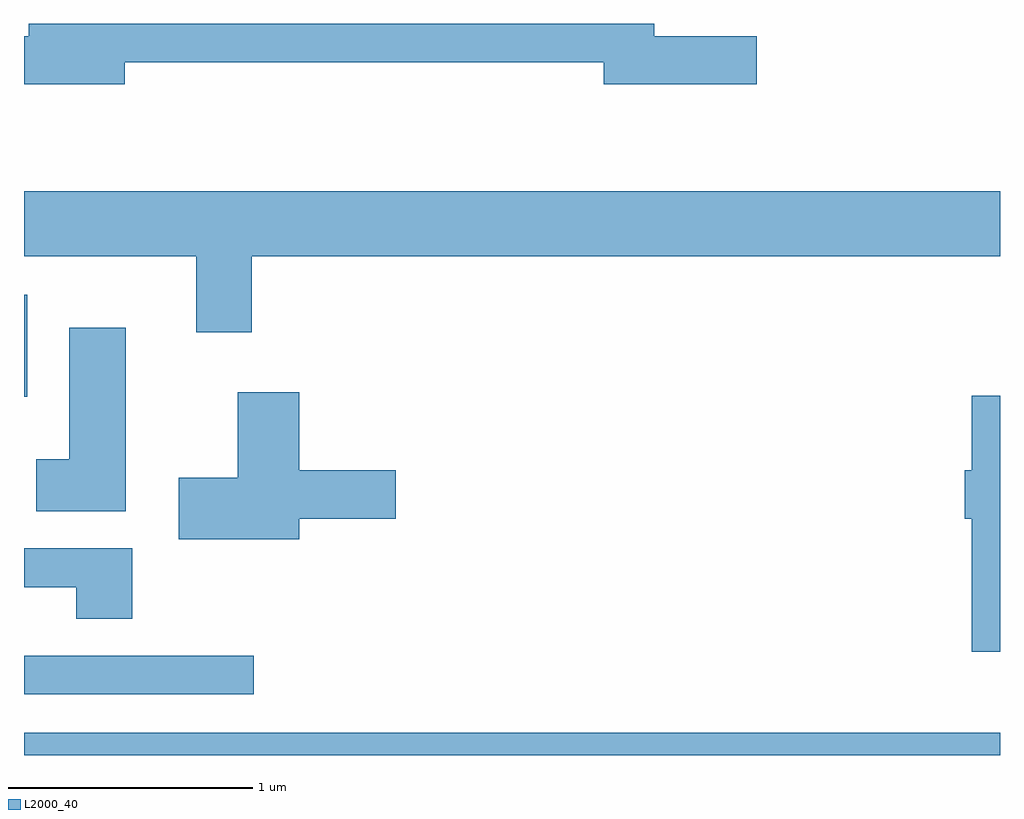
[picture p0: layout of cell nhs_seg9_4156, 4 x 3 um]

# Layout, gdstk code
import gdstk
lib = gdstk.Library(unit=1e-6, precision=1e-09)
def R(c, l, rs):  # rectangles x0, y0, x1, y1
    for r in rs: c.add(gdstk.rectangle(r[:2], r[2:], *l))
def P(c, l, *ps):  # polygons
    for p in ps: c.add(gdstk.Polygon(p, *l))
L2000_40 = (2000, 40)

nhs_seg9_4156 = lib.new_cell('nhs_seg9_4156')
R(nhs_seg9_4156, L2000_40, [(307.611,1996.432,311.611,1996.524), (307.611,1996.681,308.553,1996.839), (307.611,1997.901,307.624,1998.319)])
P(nhs_seg9_4156, L2000_40, [(308.024,1999.271),(309.986,1999.271),(309.986,1999.181),(310.614,1999.181),(310.614,1999.379),(310.194,1999.379),(310.194,1999.429),(307.631,1999.429),(307.631,1999.379),(307.611,1999.379),(307.611,1999.181),(308.024,1999.181)],
  [(308.544,1998.476),(311.611,1998.476),(311.611,1998.744),(307.611,1998.744),(307.611,1998.476),(308.316,1998.476),(308.316,1998.166),(308.544,1998.166)],
  [(308.029,1998.184),(307.796,1998.184),(307.796,1997.644),(307.661,1997.644),(307.661,1997.431),(308.029,1997.431)],
  [(308.739,1997.401),(309.134,1997.401),(309.134,1997.599),(308.739,1997.599),(308.739,1997.919),(308.486,1997.919),(308.486,1997.569),(308.246,1997.569),(308.246,1997.316),(308.739,1997.316)],
  [(311.611,1997.904),(311.496,1997.904),(311.496,1997.599),(311.466,1997.599),(311.466,1997.401),(311.496,1997.401),(311.496,1996.856),(311.611,1996.856)],
  [(308.054,1997.279),(307.611,1997.279),(307.611,1997.121),(307.826,1997.121),(307.826,1996.991),(308.054,1996.991)])

lib.write_gds('nhs_seg9_4156.gds')
